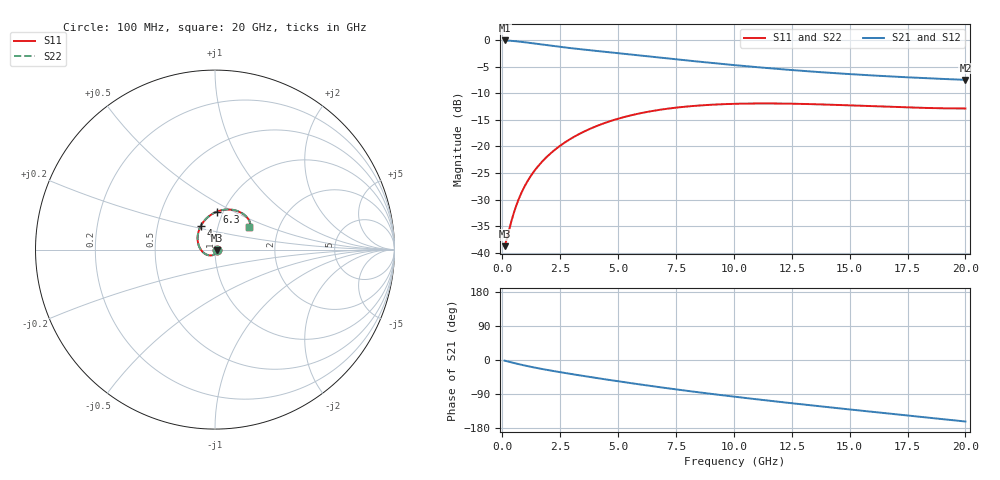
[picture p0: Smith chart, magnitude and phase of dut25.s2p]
! Touchstone file exported from HFSS 2023.1.0
!  File:  D:/Users/fzz/RDL_TSV/temp_RDL_TSV_25_1778743807.aedt
!  Generated:  3:36:59 %x4E0B%x5348  5%x6708 14, 2026
!  Design:  RDL_TSV
!  Project:  temp_RDL_TSV_25_1778743807
!  Setup:  Setup1
!  Solution:  Sweep
! Variables:
!  dtsv = 18.03um
!  hbump = 3um
!  htsv = 53.51um
!  ldown = 458.17um
!  lrdl = 230.35um
!  p = 40
!  p1 = 51.34um
!  rhole = 10um
!  subl = 2295.91um
!  t = 450um
!  tdown = 2.94um
!  trdl = 3.14um
!  viad = 10um
!  wdown = 25.13um
!  wrdl = 28.02um
!  xbump = 18um
# GHz S MA R 50.000000
! Terminal data exported
! Port[1] = TM1_1_T1
! Port[2] = TM1_4_T1
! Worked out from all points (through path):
!   200 points, 100 MHz to 20 GHz, reference 50 ohm
!   highest |S21| = -0.10 dB at 100 MHz (marker M1); lowest = -7.5 dB at 20 GHz (marker M2)
!   group delay of S21, straight-line fit = 21.3 ps
!   lowest |S11| = -38.7 dB at 100 MHz (marker M3), VSWR 1.02, Z = 51.1 - j0.49 ohm
!   |S11| at or under -10 dB: start of sweep to end of sweep
!   |S22| runs from -38.7 to -11.9 dB; largest |S21 - S12| = 2.2e-14
!   S11 on the Smith chart (normalised r, x): 100 MHz: 1.02, -0.01; 4 GHz: 0.83, +0.22; 6.3 GHz: 0.93, +0.41; 20 GHz: 1.40, +0.38
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0.1  0.0116 -24.4  0.9884 -1.6  0.9884 -1.6  0.0116 -24.4
! Gamma 0 0 0 0
! Port Impedance 50 0 50 0
0.2  0.01372 -45.7  0.9864 -3.3  0.9864 -3.3  0.01372 -45.7
0.5  0.02388 -89.4  0.9758 -7.9  0.9758 -7.9  0.02388 -89.4
0.7  0.03168 -108.9  0.966 -10.8  0.966 -10.8  0.03168 -109.0
1  0.04366 -132.0  0.9488 -14.9  0.9488 -14.9  0.04366 -132.0
1.3  0.05561 -150.6  0.93 -18.8  0.93 -18.8  0.05563 -150.6
1.7  0.07132 -170.9  0.905 -23.5  0.905 -23.5  0.07135 -171.0
2.2  0.09046 168.7  0.8759 -29.0  0.8759 -29.0  0.09052 168.6
2.8  0.1126 149.4  0.8449 -35.2  0.8449 -35.2  0.1127 149.3
3.5  0.1369 131.7  0.8126 -42.1  0.8126 -42.1  0.1371 131.7
4  0.1532 121.3  0.7911 -46.8  0.7911 -46.8  0.1534 121.2
5.1  0.1847 102.7  0.7466 -57.0  0.7466 -57.0  0.185 102.6
6.3  0.2119 87.0  0.7007 -67.5  0.7007 -67.5  0.2123 86.9
6.8  0.2209 81.4  0.6825 -71.8  0.6825 -71.8  0.2213 81.4
8.4  0.2414 66.7  0.6281 -84.6  0.6281 -84.6  0.2419 66.7
10.1  0.2516 54.9  0.578 -97.4  0.578 -97.4  0.2522 54.9
11.7  0.2532 46.6  0.5386 -108.6  0.5386 -108.6  0.2539 46.6
13.4  0.2495 40.3  0.5042 -120.0  0.5042 -120.0  0.2502 40.2
15  0.2431 36.3  0.4778 -130.5  0.4778 -130.5  0.2438 36.2
16.7  0.2356 33.9  0.455 -141.4  0.455 -141.4  0.2363 33.8
18.3  0.2299 33.4  0.4374 -151.5  0.4374 -151.5  0.2306 33.2
20  0.2272 34.0  0.4218 -162.3  0.4218 -162.3  0.2279 33.9
